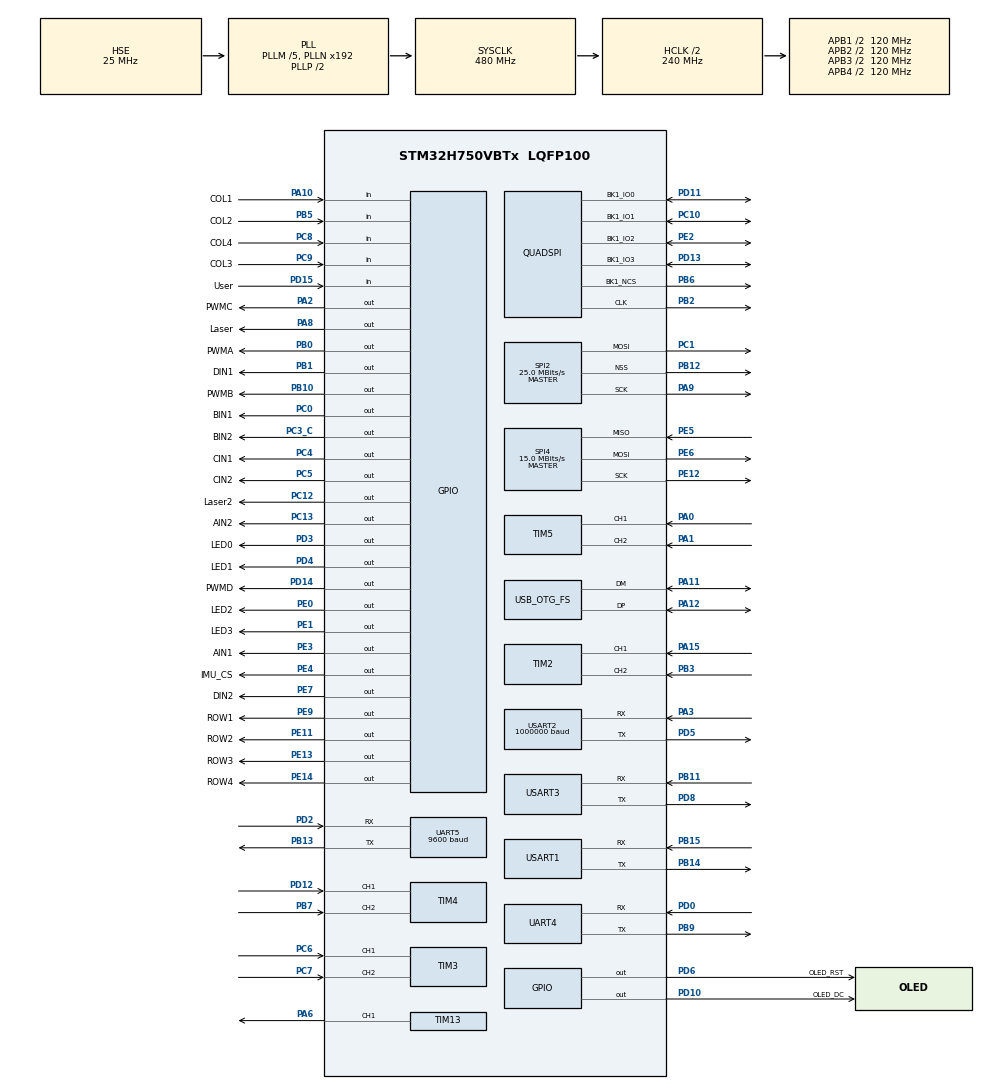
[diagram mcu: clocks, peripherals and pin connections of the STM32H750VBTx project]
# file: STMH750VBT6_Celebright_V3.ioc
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CORTEX_M7.AccessPermission_Spec=MPU_REGION_FULL_ACCESS
CORTEX_M7.CPU_DCache=Enabled
CORTEX_M7.CPU_ICache=Enabled
CORTEX_M7.DisableExec_Spec=MPU_INSTRUCTION_ACCESS_ENABLE
CORTEX_M7.IsBufferable_Spec=MPU_ACCESS_BUFFERABLE
CORTEX_M7.IsCacheable_Spec=MPU_ACCESS_CACHEABLE
CORTEX_M7.default_mode_Activation=1
FREERTOS.BinarySemaphores01=semphr_buzzer_trigger,Dynamic,NULL,Available
FREERTOS.CountingSemaphores01=semphr_uart_receive,16,Dynamic,NULL,0
FREERTOS.INCLUDE_vTaskCleanUpResources=1
FREERTOS.Queues01=queue_key,1,char,0,Dynamic,NULL,NULL
FREERTOS.Tasks01=LEDBlink,32,128,LedBlink_Handler,As weak,NULL,Static,LEDBlinkBuffer,LEDBlinkControlBlock;Broadcast,25,256,Broadcast_Handler,As weak,NULL,Static,BroadcastBuffer,BroadcastControlBlock;Uart4Rx,31,256,Uart4Rx_Handler,As weak,NULL,Static,Uart4RxBuffer,Uart4RxControlBlock;IMUService,27,128,IMUService_Handler,As weak,NULL,Static,IMUServiceBuffer,IMUServiceControlBlock;CarControl,29,128,CarControl_Handler,As weak,NULL,Static,CarControlBuffer,CarControlControlBlock;KeyScan,30,128,KeyScan_Handler,As weak,NULL,Static,KeyScanBuffer,KeyScanControlBlock;Buzzer,25,128,Buzzer_Handler,As weak,NULL,Static,BuzzerBuffer,BuzzerControlBlock;Display,25,128,Display_Handler,As weak,NULL,Static,DisplayBuffer,DisplayControlBlock;Reserved,25,1024,Reserved_Handler,As weak,NULL,Static,ReservedBuffer,ReservedControlBlock;Uart3Rx,31,256,Uart3Rx_Handler,As weak,NULL,Static,Uart3HandleBuffer,Uart3HandleControlBlock;SysMon,8,512,SysMon_Handler,As weak,NULL,Static,SysMonBuffer,SysMonControlBlock;Console,25,512,Console_Handler,As weak,NULL,Static,ConsoleBuffer,ConsoleControlBlock
FREERTOS.configCHECK_FOR_STACK_OVERFLOW=2
FREERTOS.configENABLE_FPU=1
FREERTOS.configGENERATE_RUN_TIME_STATS=1
FREERTOS.configMAX_TASK_NAME_LEN=32
FREERTOS.configQUEUE_REGISTRY_SIZE=10
FREERTOS.configTIMER_TASK_PRIORITY=55
FREERTOS.configTOTAL_HEAP_SIZE=81920
FREERTOS.configUSE_IDLE_HOOK=1
FREERTOS.configUSE_MALLOC_FAILED_HOOK=1
FREERTOS.configUSE_STATS_FORMATTING_FUNCTIONS=1
Mcu.Family=STM32H7
Mcu.Name=STM32H750VBTx
Mcu.Package=LQFP100
NVIC.OTG_FS_IRQn=true\:5\:0\:false\:false\:true\:true\:false\:true\:true
NVIC.PriorityGroup=NVIC_PRIORITYGROUP_4
NVIC.TIM6_DAC_IRQn=true\:5\:0\:false\:false\:true\:true\:true\:true\:true
NVIC.TIM7_IRQn=true\:15\:0\:false\:false\:true\:false\:false\:true\:true
NVIC.TimeBase=TIM7_IRQn
NVIC.TimeBaseIP=TIM7
NVIC.UART4_IRQn=true\:5\:0\:false\:false\:true\:true\:true\:true\:true
NVIC.USART3_IRQn=true\:5\:0\:false\:false\:true\:true\:true\:true\:true
PA0.Signal=S_TIM5_CH1
PA1.Signal=S_TIM5_CH2
PA10.GPIO_Label=COL1
PA10.GPIO_PuPd=GPIO_PULLUP
PA10.Signal=GPIO_Input
PA11.Mode=Device_Only
PA11.Signal=USB_OTG_FS_DM
PA12.Mode=Device_Only
PA12.Signal=USB_OTG_FS_DP
PA13\ (JTMS/SWDIO).Mode=Serial_Wire
PA13\ (JTMS/SWDIO).Signal=DEBUG_JTMS-SWDIO
PA14\ (JTCK/SWCLK).Mode=Serial_Wire
PA14\ (JTCK/SWCLK).Signal=DEBUG_JTCK-SWCLK
PA15\ (JTDI).Signal=S_TIM2_CH1_ETR
PA2.GPIO_Label=PWMC
PA2.GPIO_Speed=GPIO_SPEED_FREQ_VERY_HIGH
PA2.Signal=GPIO_Output
PA3.Mode=Asynchronous
PA3.Signal=USART2_RX
PA6.Signal=S_TIM13_CH1
PA8.GPIO_Label=Laser
PA8.Signal=GPIO_Output
PA9.Mode=TX_Only_Simplex_Unidirect_Master
PA9.Signal=SPI2_SCK
PB0.GPIO_Label=PWMA
PB0.GPIO_Speed=GPIO_SPEED_FREQ_VERY_HIGH
PB0.Signal=GPIO_Output
PB1.GPIO_Label=DIN1
PB1.GPIO_Speed=GPIO_SPEED_FREQ_HIGH
PB1.Signal=GPIO_Output
PB10.GPIO_Label=PWMB
PB10.GPIO_Speed=GPIO_SPEED_FREQ_VERY_HIGH
PB10.Signal=GPIO_Output
PB11.Mode=Asynchronous
PB11.Signal=USART3_RX
PB12.Mode=NSS_Signal_Hard_Output
PB12.Signal=SPI2_NSS
PB13.Mode=Asynchronous
PB13.Signal=UART5_TX
PB14.Mode=Asynchronous
PB14.Signal=USART1_TX
PB15.Mode=Asynchronous
PB15.Signal=USART1_RX
PB2.GPIO_Speed=GPIO_SPEED_FREQ_VERY_HIGH
PB2.Mode=Single Bank 1
PB2.Signal=QUADSPI_CLK
PB3\ (JTDO/TRACESWO).Signal=S_TIM2_CH2
PB5.GPIO_Label=COL2
PB5.GPIO_PuPd=GPIO_PULLUP
PB5.Signal=GPIO_Input
PB6.GPIO_Speed=GPIO_SPEED_FREQ_VERY_HIGH
PB6.Mode=Single Bank 1
PB6.Signal=QUADSPI_BK1_NCS
PB7.Signal=S_TIM4_CH2
PB9.Mode=Asynchronous
PB9.Signal=UART4_TX
PC0.GPIO_Label=BIN1
PC0.GPIO_Speed=GPIO_SPEED_FREQ_HIGH
PC0.Signal=GPIO_Output
PC1.Mode=TX_Only_Simplex_Unidirect_Master
PC1.Signal=SPI2_MOSI
PC10.GPIO_Speed=GPIO_SPEED_FREQ_VERY_HIGH
PC10.Mode=Single Bank 1
PC10.Signal=QUADSPI_BK1_IO1
PC12.GPIO_Label=Laser2
PC12.Signal=GPIO_Output
PC13.GPIO_Label=AIN2
PC13.Signal=GPIO_Output
PC14-OSC32_IN\ (OSC32_IN).Mode=LSE-External-Oscillator
PC14-OSC32_IN\ (OSC32_IN).Signal=RCC_OSC32_IN
PC15-OSC32_OUT\ (OSC32_OUT).Mode=LSE-External-Oscillator
PC15-OSC32_OUT\ (OSC32_OUT).Signal=RCC_OSC32_OUT
PC3_C.GPIO_Label=BIN2
PC3_C.GPIO_Speed=GPIO_SPEED_FREQ_HIGH
PC3_C.Signal=GPIO_Output
PC4.GPIO_Label=CIN1
PC4.GPIO_Speed=GPIO_SPEED_FREQ_HIGH
PC4.Signal=GPIO_Output
PC5.GPIO_Label=CIN2
PC5.GPIO_Speed=GPIO_SPEED_FREQ_HIGH
PC5.Signal=GPIO_Output
PC6.Signal=S_TIM3_CH1
PC7.Signal=S_TIM3_CH2
PC8.GPIO_Label=COL4
PC8.GPIO_PuPd=GPIO_PULLUP
PC8.Signal=GPIO_Input
PC9.GPIO_Label=COL3
PC9.GPIO_PuPd=GPIO_PULLUP
PC9.Signal=GPIO_Input
PD0.Mode=Asynchronous
PD0.Signal=UART4_RX
PD10.GPIO_Label=OLED_DC
PD10.GPIO_Speed=GPIO_SPEED_FREQ_HIGH
PD10.Signal=GPIO_Output
PD11.GPIO_Speed=GPIO_SPEED_FREQ_VERY_HIGH
PD11.Mode=Single Bank 1
PD11.Signal=QUADSPI_BK1_IO0
PD12.Signal=S_TIM4_CH1
PD13.GPIO_Speed=GPIO_SPEED_FREQ_VERY_HIGH
PD13.Mode=Single Bank 1
PD13.Signal=QUADSPI_BK1_IO3
PD14.GPIO_Label=PWMD
PD14.GPIO_Speed=GPIO_SPEED_FREQ_VERY_HIGH
PD14.Signal=GPIO_Output
PD15.GPIO_Label=User
PD15.GPIO_PuPd=GPIO_PULLUP
PD15.Signal=GPIO_Input
PD2.Mode=Asynchronous
PD2.Signal=UART5_RX
PD3.GPIO_Label=LED0
PD3.GPIO_Speed=GPIO_SPEED_FREQ_LOW
PD3.Signal=GPIO_Output
PD4.GPIO_Label=LED1
PD4.Signal=GPIO_Output
PD5.Mode=Asynchronous
PD5.Signal=USART2_TX
PD6.GPIO_Label=OLED_RST
PD6.Signal=GPIO_Output
PD8.Mode=Asynchronous
PD8.Signal=USART3_TX
PE0.GPIO_Label=LED2
PE0.Signal=GPIO_Output
PE1.GPIO_Label=LED3
PE1.Signal=GPIO_Output
PE11.GPIO_Label=ROW2
PE11.GPIO_Speed=GPIO_SPEED_FREQ_VERY_HIGH
PE11.PinState=GPIO_PIN_SET
PE11.Signal=GPIO_Output
PE12.Mode=Full_Duplex_Master
PE12.Signal=SPI4_SCK
PE13.GPIO_Label=ROW3
PE13.GPIO_Speed=GPIO_SPEED_FREQ_VERY_HIGH
PE13.PinState=GPIO_PIN_SET
PE13.Signal=GPIO_Output
PE14.GPIO_Label=ROW4
PE14.GPIO_Speed=GPIO_SPEED_FREQ_VERY_HIGH
PE14.PinState=GPIO_PIN_SET
PE14.Signal=GPIO_Output
PE2.GPIO_Speed=GPIO_SPEED_FREQ_VERY_HIGH
PE2.Mode=Single Bank 1
PE2.Signal=QUADSPI_BK1_IO2
PE3.GPIO_Label=AIN1
PE3.GPIO_Speed=GPIO_SPEED_FREQ_HIGH
PE3.Signal=GPIO_Output
PE4.GPIO_Label=IMU_CS
PE4.GPIO_Speed=GPIO_SPEED_FREQ_VERY_HIGH
PE4.Signal=GPIO_Output
PE5.Mode=Full_Duplex_Master
PE5.Signal=SPI4_MISO
PE6.Mode=Full_Duplex_Master
PE6.Signal=SPI4_MOSI
PE7.GPIO_Label=DIN2
PE7.GPIO_Speed=GPIO_SPEED_FREQ_HIGH
PE7.Signal=GPIO_Output
PE9.GPIO_Label=ROW1
PE9.GPIO_Speed=GPIO_SPEED_FREQ_VERY_HIGH
PE9.PinState=GPIO_PIN_SET
PE9.Signal=GPIO_Output
PH0-OSC_IN\ (PH0).Mode=HSE-External-Oscillator
PH0-OSC_IN\ (PH0).Signal=RCC_OSC_IN
PH1-OSC_OUT\ (PH1).Mode=HSE-External-Oscillator
PH1-OSC_OUT\ (PH1).Signal=RCC_OSC_OUT
ProjectManager.HeapSize=0x200
ProjectManager.StackSize=0x800
ProjectManager.TargetToolchain=MDK-ARM V5.32
QUADSPI.ClockMode=QSPI_CLOCK_MODE_3
QUADSPI.ClockPrescaler=2
QUADSPI.FifoThreshold=32
QUADSPI.FlashSize=22
QUADSPI.SampleShifting=QSPI_SAMPLE_SHIFTING_HALFCYCLE
RAMECC.Instance-RAMECC1_Monitor1=RAMECC1_Monitor1
RAMECC.Instance-RAMECC1_Monitor2=RAMECC1_Monitor2
RAMECC.Instance-RAMECC1_Monitor3=RAMECC1_Monitor3
RAMECC.Instance-RAMECC1_Monitor4=RAMECC1_Monitor4
RAMECC.Instance-RAMECC1_Monitor5=RAMECC1_Monitor5
RAMECC.Instance-RAMECC2_Monitor1=RAMECC2_Monitor1
RAMECC.Instance-RAMECC2_Monitor2=RAMECC2_Monitor2
RAMECC.Instance-RAMECC2_Monitor3=RAMECC2_Monitor3
RAMECC.Instance-RAMECC2_Monitor4=RAMECC2_Monitor4
RAMECC.Instance-RAMECC2_Monitor5=RAMECC2_Monitor5
RAMECC.Instance-RAMECC3_Monitor1=RAMECC3_Monitor1
RAMECC.Instance-RAMECC3_Monitor2=RAMECC3_Monitor2
RCC.ADCFreq_Value=200000000
RCC.APB1Freq_Value=120000000
RCC.APB2Freq_Value=120000000
RCC.APB3Freq_Value=120000000
RCC.APB4Freq_Value=120000000
RCC.CortexFreq_Value=480000000
RCC.D1PPRE=RCC_APB3_DIV2
RCC.D2PPRE1=RCC_APB1_DIV2
RCC.D2PPRE2=RCC_APB2_DIV2
RCC.D3PPRE=RCC_APB4_DIV2
RCC.DIVM1=5
RCC.DIVM2=5
RCC.DIVN1=192
RCC.DIVN2=80
RCC.DIVN3=80
RCC.EnbaleCSS=true
RCC.HCLKFreq_Value=240000000
RCC.HPRE=RCC_HCLK_DIV2
RCC.PLLSourceVirtual=RCC_PLLSOURCE_HSE
RCC.SPI123CLockSelection=RCC_SPI123CLKSOURCE_PLL2
RCC.SYSCLKFreq_VALUE=480000000
RCC.SYSCLKSource=RCC_SYSCLKSOURCE_PLLCLK
RCC.USBCLockSelection=RCC_USBCLKSOURCE_HSI48
RCC.USBFreq_Value=48000000
SH.S_TIM13_CH1.0=TIM13_CH1,PWM Generation1 CH1
SH.S_TIM2_CH1_ETR.0=TIM2_CH1,Encoder_Interface
SH.S_TIM2_CH2.0=TIM2_CH2,Encoder_Interface
SH.S_TIM3_CH1.0=TIM3_CH1,Encoder_Interface
SH.S_TIM3_CH2.0=TIM3_CH2,Encoder_Interface
SH.S_TIM4_CH1.0=TIM4_CH1,Encoder_Interface
SH.S_TIM4_CH2.0=TIM4_CH2,Encoder_Interface
SH.S_TIM5_CH1.0=TIM5_CH1,Encoder_Interface
SH.S_TIM5_CH2.0=TIM5_CH2,Encoder_Interface
SPI2.BaudRatePrescaler=SPI_BAUDRATEPRESCALER_8
SPI2.CalculateBaudRate=25.0 MBits/s
SPI2.DataSize=SPI_DATASIZE_8BIT
SPI2.Direction=SPI_DIRECTION_2LINES_TXONLY
SPI2.Mode=SPI_MODE_MASTER
SPI2.VirtualNSS=VM_NSSHARD
SPI2.VirtualType=VM_MASTER
SPI4.BaudRatePrescaler=SPI_BAUDRATEPRESCALER_8
SPI4.CLKPhase=SPI_PHASE_2EDGE
SPI4.CLKPolarity=SPI_POLARITY_HIGH
SPI4.CalculateBaudRate=15.0 MBits/s
SPI4.DataSize=SPI_DATASIZE_8BIT
SPI4.Direction=SPI_DIRECTION_2LINES
SPI4.Mode=SPI_MODE_MASTER
SPI4.VirtualType=VM_MASTER
TIM13.Channel=TIM_CHANNEL_1
TIM2.EncoderMode=TIM_ENCODERMODE_TI12
TIM3.EncoderMode=TIM_ENCODERMODE_TI12
TIM4.EncoderMode=TIM_ENCODERMODE_TI12
TIM5.EncoderMode=TIM_ENCODERMODE_TI12
TIM6.Period=9
TIM6.Prescaler=239
UART5.BaudRate=9600
USART1.VirtualMode-Asynchronous=VM_ASYNC
USART2.BaudRate=1000000
USART2.VirtualMode-Asynchronous=VM_ASYNC
USART3.VirtualMode-Asynchronous=VM_ASYNC
USB_DEVICE.CLASS_NAME_FS=CDC
USB_DEVICE.VirtualMode-CDC_FS=Cdc
USB_DEVICE.VirtualModeFS=Cdc_FS
USB_OTG_FS.VirtualMode=Device_Only
VP_FREERTOS_VS_CMSIS_V2.Mode=CMSIS_V2
VP_MEMORYMAP_VS_MEMORYMAP.Mode=CurAppReg
VP_RAMECC_VS_D1_1.Mode=RAMECC1_Monitor1
VP_RAMECC_VS_D1_2.Mode=RAMECC1_Monitor2
VP_RAMECC_VS_D1_3.Mode=RAMECC1_Monitor3
VP_RAMECC_VS_D1_4.Mode=RAMECC1_Monitor4
VP_RAMECC_VS_D1_5.Mode=RAMECC1_Monitor5
VP_RAMECC_VS_D2_1.Mode=RAMECC2_Monitor1
VP_RAMECC_VS_D2_2.Mode=RAMECC2_Monitor2
VP_RAMECC_VS_D2_3.Mode=RAMECC2_Monitor3
VP_RAMECC_VS_D2_4.Mode=RAMECC2_Monitor4
VP_RAMECC_VS_D2_5.Mode=RAMECC2_Monitor5
VP_RAMECC_VS_D3_1.Mode=RAMECC3_Monitor1
VP_RAMECC_VS_D3_2.Mode=RAMECC3_Monitor2
VP_SYS_VS_tim7.Mode=TIM7
VP_TIM13_VS_ClockSourceINT.Mode=Enable_Timer
VP_TIM6_VS_ClockSourceINT.Mode=Enable_Timer
VP_USB_DEVICE_VS_USB_DEVICE_CDC_FS.Mode=CDC_FS
board=custom

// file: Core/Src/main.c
/* USER CODE BEGIN Header */
/**
  ******************************************************************************
  * @file           : main.c
  * @brief          : Main program body
  ******************************************************************************
  * @attention
  *
  * Copyright (c) 2025 STMicroelectronics.
  * All rights reserved.
  *
  * This software is licensed under terms that can be found in the LICENSE file
  * in the root directory of this software component.
  * If no LICENSE file comes with this software, it is provided AS-IS.
  *
  ******************************************************************************
  */
/* USER CODE END Header */
#include "main.h"
#include "FreeRTOS.h"
#include "cmsis_os2.h"
#include "quadspi.h"
#include "ramecc.h"
#include "spi.h"
#include "tim.h"
#include "usart.h"
#include "usb_device.h"
#include "gpio.h"

/* USER CODE BEGIN Includes */
#include "app.h"
#if APP_ENABLE_DISPLAY
#include "oledpicture_V0.2.h"
#endif
/* USER CODE END Includes */

/* USER CODE BEGIN PD */
#define CPU_FREQ 480	//Unit:MHz;
/* USER CODE END PD */

/* USER CODE BEGIN PV */
#if APP_ENABLE_IMU
float motion6[7];
float ypr[3];          // yaw pitch roll
#endif
/* USER CODE END PV */

void SystemClock_Config(void);
static void MPU_Config(void);
void MX_FREERTOS_Init(void);

int main(void)
{

  /* MPU Configuration--------------------------------------------------------*/
  MPU_Config();

  /* Enable the CPU Cache */

  /* Enable I-Cache---------------------------------------------------------*/
  SCB_EnableICache();

  /* Enable D-Cache---------------------------------------------------------*/
  SCB_EnableDCache();

  /* MCU Configuration--------------------------------------------------------*/

  /* Reset of all peripherals, Initializes the Flash interface and the Systick. */
  HAL_Init();

  /* Configure the system clock */
  SystemClock_Config();

  /* Initialize all configured peripherals */
  MX_GPIO_Init();
  MX_TIM2_Init();
  MX_TIM3_Init();
  MX_TIM4_Init();
  MX_TIM5_Init();
  MX_TIM6_Init();
  MX_QUADSPI_Init();
  MX_SPI4_Init();
  MX_TIM13_Init();
  MX_UART4_Init();
  MX_USART1_UART_Init();
  MX_SPI2_Init();
  MX_USART2_UART_Init();
  MX_USART3_UART_Init();
  MX_UART5_Init();
  MX_RAMECC_Init();
  /* USER CODE BEGIN 2 */
#if APP_ENABLE_DISPLAY
  OLED_Init();
#endif
#if APP_ENABLE_MUSIC
  MusicPlayer_Init();
#endif
  HAL_Delay(1000);
#if APP_ENABLE_DISPLAY
  OLED_DrawBMP(9,0,119,8,Genshin);	//LOGO;
  HAL_Delay(1000);
  OLED_Clear();
#endif
  delay_init(CPU_FREQ);		//重新初始化延时函数，Parameter: CPU_FREQ
#if APP_ENABLE_IMU
  IMU_init();
#endif
  HAL_Delay(1000);
  HAL_TIM_Encoder_Start(&htim2, TIM_CHANNEL_ALL); //开启TIM2编码器
  HAL_TIM_Encoder_Start(&htim3, TIM_CHANNEL_ALL); //开启TIM3编码器
  HAL_TIM_Encoder_Start(&htim4, TIM_CHANNEL_ALL); //开启TIM4编码器
  HAL_TIM_Encoder_Start(&htim5, TIM_CHANNEL_ALL); //开启TIM5编码器

  /* NOTE: HAL_TIM_Base_Start_IT for TIM2-TIM5 removed.
   * The encoder MSP (HAL_TIM_Encoder_MspInit) does NOT enable NVIC for
   * TIM2-TIM5. Without NVIC, update interrupts from these timers never
   * reach the CPU. The encoder counters are read and reset every 10 ms
   * in the CarControl task, so overflow is impossible (~21 counts/period).
   * Only TIM6 (software PWM, NVIC enabled in HAL_TIM_Base_MspInit) needs
   * the update interrupt. */
  HAL_TIM_Base_Start_IT(&htim6);

  //电机初始化 (在时钟配置和 GPIO 之后, 编码器启动之后)
  init_motor();
  //小车控制初始化
	init_Car_Attitude();
	init_Car_Contorl();
	HAL_Delay(2000);
	printf("init ok");
	//Flash初始化
	//QSPI_W25Qxx_Init();	   // 初始化W25Q256
//	QSPI_W25Qxx_Test();		// Flash读写测试
	//setup_roboticArm();//机械臂初始化
	HAL_Delay(1000);
	//initArm();//机械臂位置初始化
	HAL_Delay(1000);
	//moveArm(150,200, 50);//移动机械臂
  /* USER CODE END 2 */

  /* Init scheduler */
  osKernelInitialize();  /* Call init function for freertos objects (in cmsis_os2.c) */
  MX_FREERTOS_Init();

  /* Start scheduler */
  osKernelStart();

  /* We should never get here as control is now taken by the scheduler */

  /* Infinite loop */
  while (1)
  {

  }
}

void SystemClock_Config(void)
{
  RCC_OscInitTypeDef RCC_OscInitStruct = {0};
  RCC_ClkInitTypeDef RCC_ClkInitStruct = {0};

  /** Supply configuration update enable
  */
  HAL_PWREx_ConfigSupply(PWR_LDO_SUPPLY);

  /** Configure the main internal regulator output voltage
  */
  __HAL_PWR_VOLTAGESCALING_CONFIG(PWR_REGULATOR_VOLTAGE_SCALE0);

  while(!__HAL_PWR_GET_FLAG(PWR_FLAG_VOSRDY)) {}

  /** Initializes the RCC Oscillators according to the specified parameters
  * in the RCC_OscInitTypeDef structure.
  */
  RCC_OscInitStruct.OscillatorType = RCC_OSCILLATORTYPE_HSI48|RCC_OSCILLATORTYPE_HSE;
  RCC_OscInitStruct.HSEState = RCC_HSE_ON;
  RCC_OscInitStruct.HSI48State = RCC_HSI48_ON;
  RCC_OscInitStruct.PLL.PLLState = RCC_PLL_ON;
  RCC_OscInitStruct.PLL.PLLSource = RCC_PLLSOURCE_HSE;
  RCC_OscInitStruct.PLL.PLLM = 5;
  RCC_OscInitStruct.PLL.PLLN = 192;
  RCC_OscInitStruct.PLL.PLLP = 2;
  RCC_OscInitStruct.PLL.PLLQ = 2;
  RCC_OscInitStruct.PLL.PLLR = 2;
  RCC_OscInitStruct.PLL.PLLRGE = RCC_PLL1VCIRANGE_2;
  RCC_OscInitStruct.PLL.PLLVCOSEL = RCC_PLL1VCOWIDE;
  RCC_OscInitStruct.PLL.PLLFRACN = 0;
  if (HAL_RCC_OscConfig(&RCC_OscInitStruct) != HAL_OK)
  {
    Error_Handler();
  }

  /** Initializes the CPU, AHB and APB buses clocks
  */
  RCC_ClkInitStruct.ClockType = RCC_CLOCKTYPE_HCLK|RCC_CLOCKTYPE_SYSCLK
                              |RCC_CLOCKTYPE_PCLK1|RCC_CLOCKTYPE_PCLK2
                              |RCC_CLOCKTYPE_D3PCLK1|RCC_CLOCKTYPE_D1PCLK1;
  RCC_ClkInitStruct.SYSCLKSource = RCC_SYSCLKSOURCE_PLLCLK;
  RCC_ClkInitStruct.SYSCLKDivider = RCC_SYSCLK_DIV1;
  RCC_ClkInitStruct.AHBCLKDivider = RCC_HCLK_DIV2;
  RCC_ClkInitStruct.APB3CLKDivider = RCC_APB3_DIV2;
  RCC_ClkInitStruct.APB1CLKDivider = RCC_APB1_DIV2;
  RCC_ClkInitStruct.APB2CLKDivider = RCC_APB2_DIV2;
  RCC_ClkInitStruct.APB4CLKDivider = RCC_APB4_DIV2;

  if (HAL_RCC_ClockConfig(&RCC_ClkInitStruct, FLASH_LATENCY_4) != HAL_OK)
  {
    Error_Handler();
  }

  /** Enables the Clock Security System
  */
  HAL_RCC_EnableCSS();
}

/* USER CODE BEGIN 4 */
//FT舵机串口指令发送函数
void ftUart_Send(uint8_t *nDat , int nLen)
{
	HAL_UART_Transmit(&huart2, nDat, nLen, 100);
}

//FT舵机串口指令应答接收函数
int ftUart_Read(uint8_t *nDat, int nLen)
{
	if(HAL_OK!=HAL_UART_Receive(&huart2, nDat, nLen, 100)){
		return 0;
	}else{
		return nLen;
	}
}

//FT舵机总线切换延时，时间大于10us
void ftBus_Delay(void)
{
	HAL_Delay(1);
}
/* USER CODE END 4 */

 /* MPU Configuration */

void MPU_Config(void)
{
  MPU_Region_InitTypeDef MPU_InitStruct = {0};

  /* Disables the MPU */
  HAL_MPU_Disable();

  /** Initializes and configures the Region and the memory to be protected
  */
  MPU_InitStruct.Enable = MPU_REGION_ENABLE;
  MPU_InitStruct.Number = MPU_REGION_NUMBER0;
  MPU_InitStruct.BaseAddress = 0x0;
  MPU_InitStruct.Size = MPU_REGION_SIZE_4GB;
  MPU_InitStruct.SubRegionDisable = 0x87;
  MPU_InitStruct.TypeExtField = MPU_TEX_LEVEL0;
  MPU_InitStruct.AccessPermission = MPU_REGION_FULL_ACCESS;
  MPU_InitStruct.DisableExec = MPU_INSTRUCTION_ACCESS_ENABLE;
  MPU_InitStruct.IsShareable = MPU_ACCESS_SHAREABLE;
  MPU_InitStruct.IsCacheable = MPU_ACCESS_CACHEABLE;
  MPU_InitStruct.IsBufferable = MPU_ACCESS_BUFFERABLE;

  HAL_MPU_ConfigRegion(&MPU_InitStruct);
  /* Enables the MPU */
  HAL_MPU_Enable(MPU_PRIVILEGED_DEFAULT);

}

void HAL_TIM_PeriodElapsedCallback(TIM_HandleTypeDef *htim)
{
  if (htim->Instance == TIM7)
  {
    HAL_IncTick();
  }
}

void Error_Handler(void)
{
  __disable_irq();
  while (1)
  {
  }
}
#ifdef USE_FULL_ASSERT
/**
  * @brief  Reports the name of the source file and the source line number
  *         where the assert_param error has occurred.
  * @param  file: pointer to the source file name
  * @param  line: assert_param error line source number
  * @retval None
  */
void assert_failed(uint8_t *file, uint32_t line)
{
  /* USER CODE BEGIN 6 */
  /* Log assert failure — useful when USE_FULL_ASSERT is enabled for debug builds */
  (void)printf("ASSERT FAILED: %s:%lu\r\n", (char *)file, (unsigned long)line);
  /* USER CODE END 6 */
}
#endif /* USE_FULL_ASSERT */

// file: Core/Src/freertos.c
/* USER CODE BEGIN Header */
/**
  ******************************************************************************
  * File Name          : freertos.c
  * Description        : Code for freertos applications
  ******************************************************************************
  * @attention
  *
  * Copyright (c) 2025 STMicroelectronics.
  * All rights reserved.
  *
  * This software is licensed under terms that can be found in the LICENSE file
  * in the root directory of this software component.
  * If no LICENSE file comes with this software, it is provided AS-IS.
  *
  ******************************************************************************
  */
/* USER CODE END Header */

#include "FreeRTOS.h"
#include "task.h"
#include "main.h"
#include "FreeRTOS.h"
#include "cmsis_os2.h"

/* USER CODE BEGIN Includes */
#include "app.h"
/* USER CODE END Includes */

typedef StaticTask_t osStaticThreadDef_t;

/* USER CODE BEGIN Variables */
#if APP_ENABLE_IMU
extern float motion6[7];
extern float ypr[3];          // yaw pitch roll
#endif
#if APP_ENABLE_UART_FIFO
QueueHandle_t uart3_frame_queue;
QueueHandle_t uart4_frame_queue;
#endif
#if APP_ENABLE_CONSOLE
StreamBufferHandle_t console_rx_stream = NULL;
#endif

/* USER CODE END Variables */
/* Definitions for LEDBlink */
osThreadId_t LEDBlinkHandle;
uint32_t LEDBlinkBuffer[ 128 ];
osStaticThreadDef_t LEDBlinkControlBlock;
const osThreadAttr_t LEDBlink_attributes = {
  .name = "LEDBlink",
  .cb_mem = &LEDBlinkControlBlock,
  .cb_size = sizeof(LEDBlinkControlBlock),
  .stack_mem = &LEDBlinkBuffer[0],
  .stack_size = sizeof(LEDBlinkBuffer),
  .priority = (osPriority_t) osPriorityAboveNormal,
};
/* Definitions for Broadcast */
osThreadId_t BroadcastHandle;
uint32_t BroadcastBuffer[ 256 ];
osStaticThreadDef_t BroadcastControlBlock;
const osThreadAttr_t Broadcast_attributes = {
  .name = "Broadcast",
  .cb_mem = &BroadcastControlBlock,
  .cb_size = sizeof(BroadcastControlBlock),
  .stack_mem = &BroadcastBuffer[0],
  .stack_size = sizeof(BroadcastBuffer),
  .priority = (osPriority_t) osPriorityNormal1,
};
/* Definitions for Uart4Rx */
osThreadId_t Uart4RxHandle;
uint32_t Uart4RxBuffer[ 256 ];
osStaticThreadDef_t Uart4RxControlBlock;
const osThreadAttr_t Uart4Rx_attributes = {
  .name = "Uart4Rx",
  .cb_mem = &Uart4RxControlBlock,
  .cb_size = sizeof(Uart4RxControlBlock),
  .stack_mem = &Uart4RxBuffer[0],
  .stack_size = sizeof(Uart4RxBuffer),
  .priority = (osPriority_t) osPriorityNormal7,
};
/* Definitions for IMUService */
osThreadId_t IMUServiceHandle;
uint32_t IMUServiceBuffer[ 128 ];
osStaticThreadDef_t IMUServiceControlBlock;
const osThreadAttr_t IMUService_attributes = {
  .name = "IMUService",
  .cb_mem = &IMUServiceControlBlock,
  .cb_size = sizeof(IMUServiceControlBlock),
  .stack_mem = &IMUServiceBuffer[0],
  .stack_size = sizeof(IMUServiceBuffer),
  .priority = (osPriority_t) osPriorityNormal3,
};
/* Definitions for CarControl */
osThreadId_t CarControlHandle;
uint32_t CarControlBuffer[ 128 ];
osStaticThreadDef_t CarControlControlBlock;
const osThreadAttr_t CarControl_attributes = {
  .name = "CarControl",
  .cb_mem = &CarControlControlBlock,
  .cb_size = sizeof(CarControlControlBlock),
  .stack_mem = &CarControlBuffer[0],
  .stack_size = sizeof(CarControlBuffer),
  .priority = (osPriority_t) osPriorityNormal5,
};
/* Definitions for KeyScan */
osThreadId_t KeyScanHandle;
uint32_t KeyScanBuffer[ 128 ];
osStaticThreadDef_t KeyScanControlBlock;
const osThreadAttr_t KeyScan_attributes = {
  .name = "KeyScan",
  .cb_mem = &KeyScanControlBlock,
  .cb_size = sizeof(KeyScanControlBlock),
  .stack_mem = &KeyScanBuffer[0],
  .stack_size = sizeof(KeyScanBuffer),
  .priority = (osPriority_t) osPriorityNormal6,
};
/* Definitions for Buzzer */
osThreadId_t BuzzerHandle;
uint32_t BuzzerBuffer[ 128 ];
osStaticThreadDef_t BuzzerControlBlock;
const osThreadAttr_t Buzzer_attributes = {
  .name = "Buzzer",
  .cb_mem = &BuzzerControlBlock,
  .cb_size = sizeof(BuzzerControlBlock),
  .stack_mem = &BuzzerBuffer[0],
  .stack_size = sizeof(BuzzerBuffer),
  .priority = (osPriority_t) osPriorityNormal1,
};
/* Definitions for Display */
osThreadId_t DisplayHandle;
uint32_t DisplayBuffer[ 128 ];
osStaticThreadDef_t DisplayControlBlock;
const osThreadAttr_t Display_attributes = {
  .name = "Display",
  .cb_mem = &DisplayControlBlock,
  .cb_size = sizeof(DisplayControlBlock),
  .stack_mem = &DisplayBuffer[0],
  .stack_size = sizeof(DisplayBuffer),
  .priority = (osPriority_t) osPriorityNormal1,
};
/* Definitions for Reserved */
osThreadId_t ReservedHandle;
uint32_t ReservedBuffer[ 1024 ];
osStaticThreadDef_t ReservedControlBlock;
const osThreadAttr_t Reserved_attributes = {
  .name = "Reserved",
  .cb_mem = &ReservedControlBlock,
  .cb_size = sizeof(ReservedControlBlock),
  .stack_mem = &ReservedBuffer[0],
  .stack_size = sizeof(ReservedBuffer),
  .priority = (osPriority_t) osPriorityNormal1,
};
/* Definitions for Uart3Rx */
osThreadId_t Uart3RxHandle;
uint32_t Uart3HandleBuffer[ 256 ];
osStaticThreadDef_t Uart3HandleControlBlock;
const osThreadAttr_t Uart3Rx_attributes = {
  .name = "Uart3Rx",
  .cb_mem = &Uart3HandleControlBlock,
  .cb_size = sizeof(Uart3HandleControlBlock),
  .stack_mem = &Uart3HandleBuffer[0],
  .stack_size = sizeof(Uart3HandleBuffer),
  .priority = (osPriority_t) osPriorityNormal7,
};
/* Definitions for SysMon */
osThreadId_t SysMonHandle;
uint32_t SysMonBuffer[ 512 ];
osStaticThreadDef_t SysMonControlBlock;
const osThreadAttr_t SysMon_attributes = {
  .name = "SysMon",
  .cb_mem = &SysMonControlBlock,
  .cb_size = sizeof(SysMonControlBlock),
  .stack_mem = &SysMonBuffer[0],
  .stack_size = sizeof(SysMonBuffer),
  .priority = (osPriority_t) osPriorityLow,
};
/* Definitions for Console */
osThreadId_t ConsoleHandle;
uint32_t ConsoleBuffer[ 512 ];
osStaticThreadDef_t ConsoleControlBlock;
const osThreadAttr_t Console_attributes = {
  .name = "Console",
  .cb_mem = &ConsoleControlBlock,
  .cb_size = sizeof(ConsoleControlBlock),
  .stack_mem = &ConsoleBuffer[0],
  .stack_size = sizeof(ConsoleBuffer),
  .priority = (osPriority_t) osPriorityNormal1,
};
/* Definitions for queue_key */
osMessageQueueId_t queue_keyHandle;
const osMessageQueueAttr_t queue_key_attributes = {
  .name = "queue_key"
};
/* Definitions for semphr_buzzer_trigger */
osSemaphoreId_t semphr_buzzer_triggerHandle;
const osSemaphoreAttr_t semphr_buzzer_trigger_attributes = {
  .name = "semphr_buzzer_trigger"
};
/* Definitions for semphr_uart_receive */
osSemaphoreId_t semphr_uart_receiveHandle;
const osSemaphoreAttr_t semphr_uart_receive_attributes = {
  .name = "semphr_uart_receive"
};

void LedBlink_Handler(void *argument);
void Broadcast_Handler(void *argument);
void Uart4Rx_Handler(void *argument);
void IMUService_Handler(void *argument);
void CarControl_Handler(void *argument);
void KeyScan_Handler(void *argument);
void Buzzer_Handler(void *argument);
void Display_Handler(void *argument);
void Reserved_Handler(void *argument);
void Uart3Rx_Handler(void *argument);
void SysMon_Handler(void *argument);
void Console_Handler(void *argument);

extern void MX_USB_DEVICE_Init(void);
void MX_FREERTOS_Init(void); /* (MISRA C 2004 rule 8.1) */

/* Hook prototypes */
void configureTimerForRunTimeStats(void);
unsigned long getRunTimeCounterValue(void);
void vApplicationIdleHook(void);
void vApplicationStackOverflowHook(xTaskHandle xTask, char *pcTaskName);
void vApplicationMallocFailedHook(void);

/* USER CODE BEGIN 1 */
/* Functions needed when configGENERATE_RUN_TIME_STATS is on */
__weak void configureTimerForRunTimeStats(void)
{

}

__weak unsigned long getRunTimeCounterValue(void)
{
return 0;
}
/* USER CODE END 1 */

/* USER CODE BEGIN 2 */
void vApplicationIdleHook( void )
{
   /* vApplicationIdleHook() will only be called if configUSE_IDLE_HOOK is set
   to 1 in FreeRTOSConfig.h. It will be called on each iteration of the idle
   task. It is essential that code added to this hook function never attempts
   to block in any way (for example, call xQueueReceive() with a block time
   specified, or call vTaskDelay()). If the application makes use of the
   vTaskDelete() API function (as this demo application does) then it is also
   important that vApplicationIdleHook() is permitted to return to its calling
   function, because it is the responsibility of the idle task to clean up
   memory allocated by the kernel to any task that has since been deleted. */
}
/* USER CODE END 2 */

/* USER CODE BEGIN 4 */
__weak void vApplicationStackOverflowHook(xTaskHandle xTask, char *pcTaskName)
{
   /* Run time stack overflow checking is performed if
   configCHECK_FOR_STACK_OVERFLOW is defined to 1 or 2. This hook function is
   called if a stack overflow is detected. */
}
/* USER CODE END 4 */

/* USER CODE BEGIN 5 */
__weak void vApplicationMallocFailedHook(void)
{
   /* vApplicationMallocFailedHook() will only be called if
   configUSE_MALLOC_FAILED_HOOK is set to 1 in FreeRTOSConfig.h. It is a hook
   function that will get called if a call to pvPortMalloc() fails.
   pvPortMalloc() is called internally by the kernel whenever a task, queue,
   timer or semaphore is created. It is also called by various parts of the
   demo application. If heap_1.c or heap_2.c are used, then the size of the
   heap available to pvPortMalloc() is defined by configTOTAL_HEAP_SIZE in
   FreeRTOSConfig.h, and the xPortGetFreeHeapSize() API function can be used
   to query the size of free heap space that remains (although it does not
   provide information on how the remaining heap might be fragmented). */
}
/* USER CODE END 5 */

void MX_FREERTOS_Init(void) {

  /* Create the semaphores(s) */
  /* creation of semphr_buzzer_trigger */
  semphr_buzzer_triggerHandle = osSemaphoreNew(1, 1, &semphr_buzzer_trigger_attributes);

  /* creation of semphr_uart_receive */
  semphr_uart_receiveHandle = osSemaphoreNew(16, 0, &semphr_uart_receive_attributes);

  /* Create the queue(s) */
  /* creation of queue_key */
  queue_keyHandle = osMessageQueueNew (1, sizeof(char), &queue_key_attributes);

  /* USER CODE BEGIN RTOS_QUEUES */
#if APP_ENABLE_UART_FIFO
	uart3_frame_queue = xQueueCreate(5, UART_FRAME_MAX_LEN);
	uart4_frame_queue = xQueueCreate(5, UART_FRAME_MAX_LEN);
#endif
#if APP_ENABLE_CONSOLE
	console_rx_stream = xStreamBufferCreate(256, 1);
#endif
  /* USER CODE END RTOS_QUEUES */

  /* Create the thread(s) */
  /* creation of LEDBlink */
  LEDBlinkHandle = osThreadNew(LedBlink_Handler, NULL, &LEDBlink_attributes);

  /* creation of Broadcast */
  BroadcastHandle = osThreadNew(Broadcast_Handler, NULL, &Broadcast_attributes);

  /* creation of Uart4Rx */
  Uart4RxHandle = osThreadNew(Uart4Rx_Handler, NULL, &Uart4Rx_attributes);

  /* creation of IMUService */
  IMUServiceHandle = osThreadNew(IMUService_Handler, NULL, &IMUService_attributes);

  /* creation of CarControl */
  CarControlHandle = osThreadNew(CarControl_Handler, NULL, &CarControl_attributes);

  /* creation of KeyScan */
  KeyScanHandle = osThreadNew(KeyScan_Handler, NULL, &KeyScan_attributes);

  /* creation of Buzzer */
  BuzzerHandle = osThreadNew(Buzzer_Handler, NULL, &Buzzer_attributes);

  /* creation of Display */
  DisplayHandle = osThreadNew(Display_Handler, NULL, &Display_attributes);

  /* creation of Reserved */
  ReservedHandle = osThreadNew(Reserved_Handler, NULL, &Reserved_attributes);

  /* creation of Uart3Rx */
  Uart3RxHandle = osThreadNew(Uart3Rx_Handler, NULL, &Uart3Rx_attributes);

  /* creation of SysMon */
  SysMonHandle = osThreadNew(SysMon_Handler, NULL, &SysMon_attributes);

  /* creation of Console */
  ConsoleHandle = osThreadNew(Console_Handler, NULL, &Console_attributes);

  /* USER CODE BEGIN RTOS_THREADS */
	xTaskCreate(AppInit_Task, "AppInit", 512, NULL, osPriorityNormal6, NULL);
#if APP_ENABLE_CONSOLE
	AppConsole_Init();
#endif
  /* USER CODE END RTOS_THREADS */

}

__weak void LedBlink_Handler(void *argument)
{
  /* init code for USB_DEVICE */
  MX_USB_DEVICE_Init();
  /* USER CODE BEGIN LedBlink_Handler */
#if APP_ENABLE_LEDBLINK
  for(;;)
  {
    HAL_GPIO_TogglePin(LED0_GPIO_Port, LED0_Pin);
    osDelay(1000);
  }
#else
  LEDBlinkHandle = NULL;
  vTaskDelete(NULL);
#endif
  /* USER CODE END LedBlink_Handler */
}

__weak void Broadcast_Handler(void *argument)
{
  /* USER CODE BEGIN Broadcast_Handler */
#if APP_ENABLE_BROADCAST
  AppBroadcast_Task(argument);
#else
  BroadcastHandle = NULL;
  vTaskDelete(NULL);
#endif
  /* USER CODE END Broadcast_Handler */
}

__weak void Uart4Rx_Handler(void *argument)
{
  /* USER CODE BEGIN Uart4Rx_Handler */
#if APP_ENABLE_UART_FIFO
  AppUart4Rx_Task(argument);
#else
  Uart4RxHandle = NULL;
  vTaskDelete(NULL);
#endif
  /* USER CODE END Uart4Rx_Handler */
}

__weak void IMUService_Handler(void *argument)
{
  /* USER CODE BEGIN IMUService_Handler */
#if APP_ENABLE_IMU
  AppIMUService_Task(argument);
#else
  IMUServiceHandle = NULL;
  vTaskDelete(NULL);
#endif
  /* USER CODE END IMUService_Handler */
}

__weak void CarControl_Handler(void *argument)
{
  /* USER CODE BEGIN CarControl_Handler */
  AppCarControl_Task(argument);
  /* USER CODE END CarControl_Handler */
}

__weak void KeyScan_Handler(void *argument)
{
  /* USER CODE BEGIN KeyScan_Handler */
#if APP_ENABLE_KEYBOARD
  AppKeyScan_Task(argument);
#else
  KeyScanHandle = NULL;
  vTaskDelete(NULL);
#endif
  /* USER CODE END KeyScan_Handler */
}

__weak void Buzzer_Handler(void *argument)
{
  /* USER CODE BEGIN Buzzer_Handler */
#if APP_ENABLE_MUSIC
  AppBuzzer_Task(argument);
#else
  BuzzerHandle = NULL;
  vTaskDelete(NULL);
#endif
  /* USER CODE END Buzzer_Handler */
}

__weak void Display_Handler(void *argument)
{
  /* USER CODE BEGIN Display_Handler */
#if APP_ENABLE_DISPLAY
  AppDisplay_Task(argument);
#else
  DisplayHandle = NULL;
  vTaskDelete(NULL);
#endif
  /* USER CODE END Display_Handler */
}

__weak void Reserved_Handler(void *argument)
{
  /* USER CODE BEGIN Reserved_Handler */
  AppReserved_Task(argument);
  /* USER CODE END Reserved_Handler */
}

__weak void Uart3Rx_Handler(void *argument)
{
  /* USER CODE BEGIN Uart3Rx_Handler */
#if APP_ENABLE_UART_FIFO
  AppUart3Rx_Task(argument);
#else
  Uart3RxHandle = NULL;
  vTaskDelete(NULL);
#endif
  /* USER CODE END Uart3Rx_Handler */
}

__weak void SysMon_Handler(void *argument)
{
  /* USER CODE BEGIN SysMon_Handler */
#if APP_ENABLE_SYSMON
  AppSysMon_Task(argument);
#else
  SysMonHandle = NULL;
  vTaskDelete(NULL);
#endif
  /* USER CODE END SysMon_Handler */
}

__weak void Console_Handler(void *argument)
{
  /* USER CODE BEGIN Console_Handler */
#if APP_ENABLE_CONSOLE
  AppConsole_Task(argument);
#else
  ConsoleHandle = NULL;
  vTaskDelete(NULL);
#endif
  /* USER CODE END Console_Handler */
}
